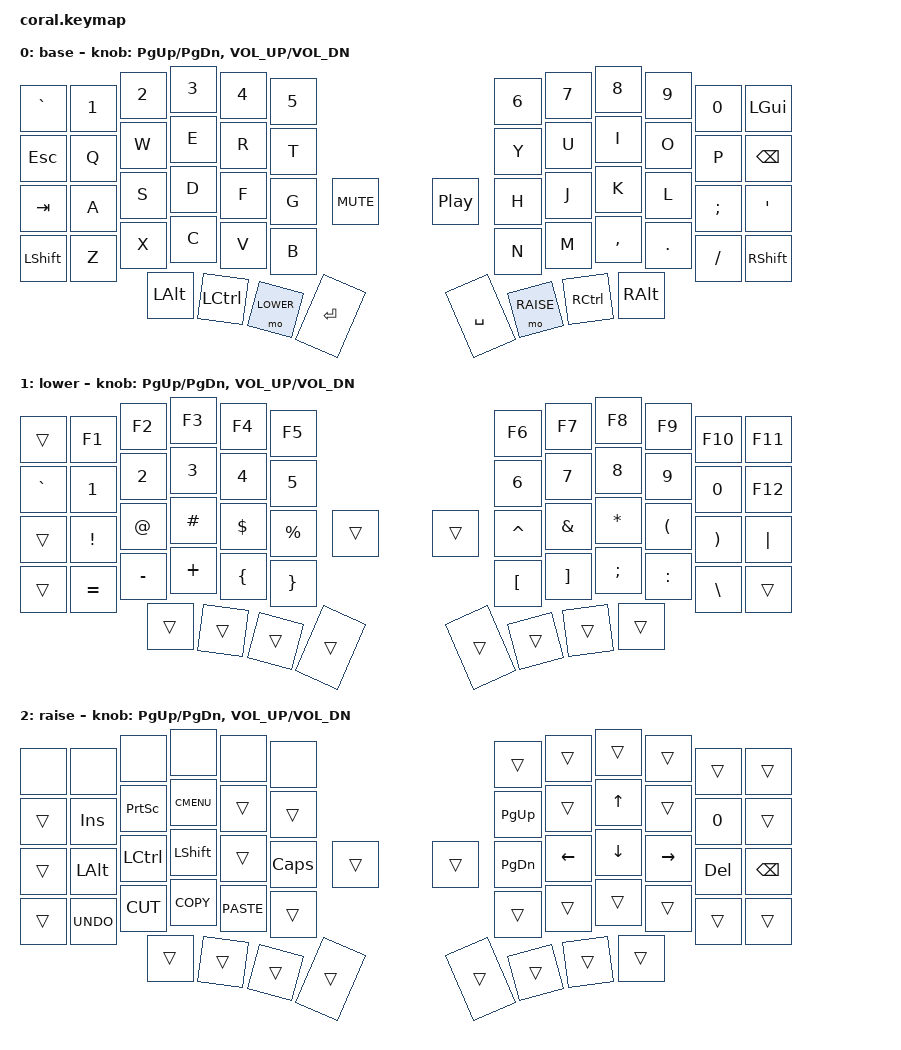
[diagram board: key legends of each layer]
#include <behaviors.dtsi>
#include <dt-bindings/zmk/keys.h>

#define BASE 0
#define LOWER 1
#define RAISE 2

/ {
    combos {
        compatible = "zmk,combos";

        combo_studio_unlock {
            timeout-ms = <50>;
            key-positions = <0 1>;
            bindings = <&studio_unlock>;
        };
    };

    keymap {
        compatible = "zmk,keymap";

        default_layer {
            display-name = "base";
            sensor-bindings = <&inc_dec_kp PG_UP PG_DN &inc_dec_kp C_VOL_UP C_VOL_DN>;
// ------------------------------------------------------------------------------------------------------------
// |   `   |  1  |  2  |  3   |  4    |   5   |                   |   6   |   7   |  8   |  9  |   0   | GUI   |
// |  ESC  |  Q  |  W  |  E   |  R    |   T   |                   |   Y   |   U   |  I   |  O  |   P   | BKSPC |
// |  TAB  |  A  |  S  |  D   |  F    |   G   |                   |   H   |   J   |  K   |  L  |   ;   |   '   |
// | SHIFT |  Z  |  X  |  C   |  V    |   B   |  MUTE  |  | PLAY  |   N   |   M   |  ,   |  .  |   /   | SHIFT |
//               | ALT | CTRL | LOWER | ENTER |                   | SPACE | RAISE | CTRL | ALT |
            bindings = <
&kp GRAVE &kp N1 &kp N2   &kp N3    &kp N4    &kp N5                        &kp N6    &kp N7    &kp N8    &kp N9  &kp N0   &kp LGUI
&kp ESC   &kp Q  &kp W    &kp E     &kp R     &kp T                         &kp Y     &kp U     &kp I     &kp O   &kp P    &kp BSPC
&kp TAB   &kp A  &kp S    &kp D     &kp F     &kp G                         &kp H     &kp J     &kp K     &kp L   &kp SEMI &kp SQT
&kp LSHFT &kp Z  &kp X    &kp C     &kp V     &kp B   &kp C_MUTE   &kp C_PP &kp N     &kp M     &kp COMMA &kp DOT &kp FSLH &kp RSHFT
                 &kp LALT &kp LCTRL &mo LOWER &kp RET                       &kp SPACE &mo RAISE &kp RCTRL &kp RALT
            >;
        };

        lower_layer {
            display-name = "lower";
            sensor-bindings = <&inc_dec_kp PG_UP PG_DN &inc_dec_kp C_VOL_UP C_VOL_DN>;
// TODO: Some binds are waiting for shifted keycode support.
// ------------------------------------------------------------------------------------------------------------
// |       |  F1 |  F2 |  F3  |  F4  |  F5  |                   |  F6  |  F7   |  F8   |  F9  |  F10  |  F11  |
// |   `   |  1  |  2  |  3   |  4   |  5   |                   |  6   |  7    |  8    |  9   |   0   |  F12  |
// |       |  !  |  @  |  #   |  $   |  %   |                   |  ^   |  &    |  *    |  (   |   )   |   |   |
// |       |  =  |  -  |  +   |  {   |  }   |        |  |       |  [   |  ]    |  ;    |  :   |   \   |       |
//               |     |      |      |      |                   |      |       |       |      |
            bindings = <
&trans    &kp F1    &kp F2    &kp F3   &kp F4    &kp F5                   &kp F6    &kp F7   &kp F8    &kp F9    &kp F10   &kp F11
&kp GRAVE &kp N1    &kp N2    &kp N3   &kp N4    &kp N5                   &kp N6    &kp N7   &kp N8    &kp N9    &kp N0    &kp F12
&trans    &kp EXCL  &kp AT    &kp HASH &kp DLLR  &kp PRCNT                &kp CARET &kp AMPS &kp ASTRK &kp LPAR  &kp RPAR  &kp PIPE
&trans    &kp EQUAL &kp MINUS &kp PLUS &kp LBRC  &kp RBRC  &trans  &trans &kp LBKT  &kp RBKT &kp SEMI  &kp COLON &kp BSLH  &trans
                    &trans    &trans   &trans    &trans                   &trans    &trans   &trans    &trans
            >;
        };

        raise_layer {
            display-name = "raise";
            sensor-bindings = <&inc_dec_kp PG_UP PG_DN &inc_dec_kp C_VOL_UP C_VOL_DN>;
// ------------------------------------------------------------------------------------------------------------
// |       |      |      |       |       |      |                |      |      |       |      |       |       |
// |       | INS  | PSCR | GUI   |       |      |                | PGUP |      |   ^   |      |       |       |
// |       | ALT  | CTRL | SHIFT |       | CAPS |                | PGDN |   <- |   v   |  ->  |  DEL  | BKSPC |
// |       | UNDO | CUT  | COPY  | PASTE |      |      |  |      |      |      |       |      |       |       |
//                |      |       |       |      |                |      |      |       |      |
            bindings = <
&none  &none      &none     &none       &none       &none                   &trans    &trans   &trans   &trans    &trans  &trans
&trans &kp INS    &kp PSCRN &kp K_CMENU &trans      &trans                  &kp PG_UP &trans   &kp UP   &trans    &kp N0  &trans
&trans &kp LALT   &kp LCTRL &kp LSHFT   &trans      &kp CLCK                &kp PG_DN &kp LEFT &kp DOWN &kp RIGHT &kp DEL &kp BSPC
&trans &kp K_UNDO &kp K_CUT &kp K_COPY  &kp K_PASTE &trans   &trans  &trans &trans    &trans   &trans   &trans    &trans  &trans
                  &trans    &trans      &trans      &trans                  &trans    &trans   &trans   &trans
            >;
        };

        extra_layer0 {
            display-name = "extra_layer0";
            status = "reserved";
        };

        extra_layer1 {
            display-name = "extra_layer1";
            status = "reserved";
        };

        extra_layer2 {
            display-name = "extra_layer2";
            status = "reserved";
        };
    };
};
